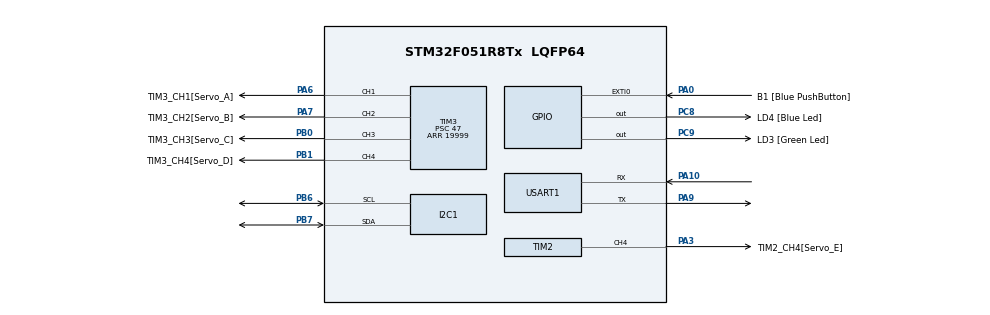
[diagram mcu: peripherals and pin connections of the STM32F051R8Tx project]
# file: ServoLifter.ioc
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FREERTOS.configCHECK_FOR_STACK_OVERFLOW=1
FREERTOS.configUSE_MALLOC_FAILED_HOOK=1
Mcu.Family=STM32F0
Mcu.Name=STM32F051R8Tx
Mcu.Package=LQFP64
NVIC.EXTI0_1_IRQn=true\:3\:0\:true
NVIC.TIM2_IRQn=true\:3\:0\:true
NVIC.TIM3_IRQn=true\:3\:0\:true
NVIC.USART1_IRQn=true\:3\:0\:true
PA0.GPIO_Label=B1 [Blue PushButton]
PA0.GPIO_ModeDefaultEXTI=GPIO_MODE_IT_RISING
PA0.GPIO_PuPd=GPIO_NOPULL
PA0.Signal=GPXTI0
PA10.GPIO_Mode=GPIO_MODE_AF_PP
PA10.GPIO_PuPd=GPIO_NOPULL
PA10.GPIO_Speed=GPIO_SPEED_LOW
PA10.Mode=Asynchronous
PA10.Signal=USART1_RX
PA13.GPIO_Label=SWDIO
PA13.Mode=Serial-WireDebug
PA13.Signal=SYS_SWDIO
PA14.GPIO_Label=SWCLK
PA14.Mode=Serial-WireDebug
PA14.Signal=SYS_SWCLK
PA3.GPIO_Label=TIM2_CH4[Servo_E]
PA3.GPIO_ModeDefaultPP=GPIO_MODE_AF_PP
PA3.GPIO_PuPd=GPIO_NOPULL
PA3.GPIO_Speed=GPIO_SPEED_LOW
PA3.Signal=S_TIM2_CH4
PA6.GPIO_Label=TIM3_CH1[Servo_A]
PA6.GPIO_ModeDefaultPP=GPIO_MODE_AF_PP
PA6.GPIO_PuPd=GPIO_NOPULL
PA6.GPIO_Speed=GPIO_SPEED_LOW
PA6.Signal=S_TIM3_CH1
PA7.GPIO_Label=TIM3_CH2[Servo_B]
PA7.GPIO_ModeDefaultPP=GPIO_MODE_AF_PP
PA7.GPIO_PuPd=GPIO_NOPULL
PA7.GPIO_Speed=GPIO_SPEED_LOW
PA7.Signal=S_TIM3_CH2
PA9.GPIO_Mode=GPIO_MODE_AF_PP
PA9.GPIO_PuPd=GPIO_NOPULL
PA9.GPIO_Speed=GPIO_SPEED_LOW
PA9.Mode=Asynchronous
PA9.Signal=USART1_TX
PB0.GPIO_Label=TIM3_CH3[Servo_C]
PB0.GPIO_ModeDefaultPP=GPIO_MODE_AF_PP
PB0.GPIO_PuPd=GPIO_NOPULL
PB0.GPIO_Speed=GPIO_SPEED_LOW
PB0.Signal=S_TIM3_CH3
PB1.GPIO_Label=TIM3_CH4[Servo_D]
PB1.GPIO_ModeDefaultPP=GPIO_MODE_AF_PP
PB1.GPIO_PuPd=GPIO_NOPULL
PB1.GPIO_Speed=GPIO_SPEED_LOW
PB1.Signal=S_TIM3_CH4
PB6.Mode=I2C
PB6.Signal=I2C1_SCL
PB7.Mode=I2C
PB7.Signal=I2C1_SDA
PC8.GPIO_Label=LD4 [Blue Led]
PC8.GPIO_ModeDefaultOutputPP=GPIO_MODE_OUTPUT_PP
PC8.GPIO_PuPd=GPIO_NOPULL
PC8.GPIO_Speed=GPIO_SPEED_LOW
PC8.Signal=GPIO_Output
PC9.GPIO_Label=LD3 [Green Led]
PC9.GPIO_ModeDefaultOutputPP=GPIO_MODE_OUTPUT_PP
PC9.GPIO_PuPd=GPIO_NOPULL
PC9.GPIO_Speed=GPIO_SPEED_LOW
PC9.Signal=GPIO_Output
ProjectManager.TargetToolchain=MDK-ARM 4.73
RCC.AHBFreq_Value=48000000
RCC.APB1Freq_Value=48000000
RCC.APB1TimFreq_Value=48000000
RCC.HCLKFreq_Value=48000000
RCC.PLLMUL=RCC_PLL_MUL12
RCC.SYSCLKSource=RCC_SYSCLKSOURCE_PLLCLK
SH.S_TIM2_CH4.0=TIM2_CH4,PWM Generation4 CH4
SH.S_TIM3_CH1.0=TIM3_CH1,PWM Generation1 CH1
SH.S_TIM3_CH2.0=TIM3_CH2,PWM Generation2 CH2
SH.S_TIM3_CH3.0=TIM3_CH3,PWM Generation3 CH3
SH.S_TIM3_CH4.0=TIM3_CH4,PWM Generation4 CH4
TIM2.Channel-PWM\ Generation4\ CH4=TIM_CHANNEL_4
TIM2.Period=19999
TIM2.Prescaler=47
TIM2.Pulse-PWM\ Generation4\ CH4=1094
TIM3.Channel-PWM\ Generation2\ CH2=TIM_CHANNEL_2
TIM3.Channel-PWM\ Generation3\ CH3=TIM_CHANNEL_3
TIM3.Channel-PWM\ Generation4\ CH4=TIM_CHANNEL_4
TIM3.Period=19999
TIM3.Prescaler=47
TIM3.Pulse-PWM\ Generation1\ CH1=1094
TIM3.Pulse-PWM\ Generation2\ CH2=1094
TIM3.Pulse-PWM\ Generation3\ CH3=1094
TIM3.Pulse-PWM\ Generation4\ CH4=1094
USART1.AutoBaudRateEnableParam-Asynchronous=UART_ADVFEATURE_AUTOBAUDRATE_DISABLE
VP_FREERTOS_VS_ENABLE.Mode=Enabled
VP_TIM2_VS_ClockSourceINT.Mode=Internal
VP_TIM3_VS_ClockSourceINT.Mode=Internal

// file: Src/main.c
/**
  ******************************************************************************
  * File Name          : main.c
  * Date               : 04/12/2014 10:38:35
  * Description        : Main program body
  ******************************************************************************
  *
  * COPYRIGHT(c) 2014 STMicroelectronics
  *
  * Redistribution and use in source and binary forms, with or without modification,
  * are permitted provided that the following conditions are met:
  *   1. Redistributions of source code must retain the above copyright notice,
  *      this list of conditions and the following disclaimer.
  *   2. Redistributions in binary form must reproduce the above copyright notice,
  *      this list of conditions and the following disclaimer in the documentation
  *      and/or other materials provided with the distribution.
  *   3. Neither the name of STMicroelectronics nor the names of its contributors
  *      may be used to endorse or promote products derived from this software
  *      without specific prior written permission.
  *
  * THIS SOFTWARE IS PROVIDED BY THE COPYRIGHT HOLDERS AND CONTRIBUTORS "AS IS"
  * AND ANY EXPRESS OR IMPLIED WARRANTIES, INCLUDING, BUT NOT LIMITED TO, THE
  * IMPLIED WARRANTIES OF MERCHANTABILITY AND FITNESS FOR A PARTICULAR PURPOSE ARE
  * DISCLAIMED. IN NO EVENT SHALL THE COPYRIGHT HOLDER OR CONTRIBUTORS BE LIABLE
  * FOR ANY DIRECT, INDIRECT, INCIDENTAL, SPECIAL, EXEMPLARY, OR CONSEQUENTIAL
  * DAMAGES (INCLUDING, BUT NOT LIMITED TO, PROCUREMENT OF SUBSTITUTE GOODS OR
  * SERVICES; LOSS OF USE, DATA, OR PROFITS; OR BUSINESS INTERRUPTION) HOWEVER
  * CAUSED AND ON ANY THEORY OF LIABILITY, WHETHER IN CONTRACT, STRICT LIABILITY,
  * OR TORT (INCLUDING NEGLIGENCE OR OTHERWISE) ARISING IN ANY WAY OUT OF THE USE
  * OF THIS SOFTWARE, EVEN IF ADVISED OF THE POSSIBILITY OF SUCH DAMAGE.
  *
  ******************************************************************************
  */

#include "stm32f0xx_hal.h"
#include "cmsis_os.h"
#include "i2c.h"
#include "tim.h"
#include "usart.h"
#include "gpio.h"

void SystemClock_Config(void);
static void StartThread(void const * argument);

/* USER CODE BEGIN 0 */
#include "command.h"
osMessageQId RcvBoxId;
osMessageQId CmdBoxId;

uint8_t UserRxBuffer[RX_BUFFER_SIZE];
static __IO uint32_t idxRxBuffer = 0;
#define RX_EVENT_TIMEOUT_MS 100

/* USER CODE END 0 */

int main(void)
{

  /* USER CODE BEGIN 1 */
 	osMessageQDef(RcvBox, RX_BUFFER_SIZE, uint32_t);
	RcvBoxId = osMessageCreate(osMessageQ(RcvBox), NULL);

 	osMessageQDef(CmdBoxId, MAX_CMD_BUF_COUNT, uint32_t);
	CmdBoxId = osMessageCreate(osMessageQ(CmdBoxId), NULL);

  /* USER CODE END 1 */

  /* MCU Configuration----------------------------------------------------------*/

  /* Reset of all peripherals, Initializes the Flash interface and the Systick. */
  HAL_Init();

  /* Configure the system clock */
  SystemClock_Config();

  /* Initialize all configured peripherals */
  MX_GPIO_Init();
  MX_I2C1_Init();
  MX_TIM2_Init();
  MX_TIM3_Init();
  MX_USART1_UART_Init();

  /* USER CODE BEGIN 2 */

	// Initialize all PWM pins to high state.
	HAL_GPIO_WritePin(GPIOA, GPIO_PIN_3|GPIO_PIN_6|GPIO_PIN_7, GPIO_PIN_SET);
	HAL_GPIO_WritePin(GPIOB, GPIO_PIN_0|GPIO_PIN_1, GPIO_PIN_SET);

  osThreadDef(MOTOR_Thread, StartMotorThread, osPriorityNormal, 0, configMINIMAL_STACK_SIZE);
  osThreadCreate (osThread(MOTOR_Thread), NULL);
  /* USER CODE END 2 */

  /* Init code generated for FreeRTOS */
  /* Create Start thread */
  osThreadDef(USER_Thread, StartThread, osPriorityNormal, 0, configMINIMAL_STACK_SIZE);
  osThreadCreate (osThread(USER_Thread), NULL);

  /* Start scheduler */
  osKernelStart(NULL, NULL);

  /* We should never get here as control is now taken by the scheduler */

  while (1)
  {
  }

}

/** System Clock Configuration
*/
void SystemClock_Config(void)
{

  RCC_OscInitTypeDef RCC_OscInitStruct;
  RCC_ClkInitTypeDef RCC_ClkInitStruct;
  RCC_PeriphCLKInitTypeDef PeriphClkInit;

  RCC_OscInitStruct.OscillatorType = RCC_OSCILLATORTYPE_HSI;
  RCC_OscInitStruct.HSIState = RCC_HSI_ON;
  RCC_OscInitStruct.HSICalibrationValue = 16;
  RCC_OscInitStruct.PLL.PLLState = RCC_PLL_ON;
  RCC_OscInitStruct.PLL.PLLSource = RCC_PLLSOURCE_HSI;
  RCC_OscInitStruct.PLL.PLLMUL = RCC_PLL_MUL12;
  RCC_OscInitStruct.PLL.PREDIV = RCC_PREDIV_DIV1;
  HAL_RCC_OscConfig(&RCC_OscInitStruct);

  RCC_ClkInitStruct.ClockType = RCC_CLOCKTYPE_SYSCLK;
  RCC_ClkInitStruct.SYSCLKSource = RCC_SYSCLKSOURCE_PLLCLK;
  RCC_ClkInitStruct.AHBCLKDivider = RCC_SYSCLK_DIV1;
  RCC_ClkInitStruct.APB1CLKDivider = RCC_HCLK_DIV1;
  HAL_RCC_ClockConfig(&RCC_ClkInitStruct, FLASH_LATENCY_1);

  PeriphClkInit.PeriphClockSelection = RCC_PERIPHCLK_USART1|RCC_PERIPHCLK_I2C1;
  PeriphClkInit.Usart1ClockSelection = RCC_USART1CLKSOURCE_PCLK1;
  PeriphClkInit.I2c1ClockSelection = RCC_I2C1CLKSOURCE_HSI;
  HAL_RCCEx_PeriphCLKConfig(&PeriphClkInit);

  __SYSCFG_CLK_ENABLE();

}

/* USER CODE BEGIN 4 */

/**
  * @brief Rx Transfer completed callbacks
  * @param huart: uart handle
  * @retval None
  */
void HAL_UART_RxCpltCallback(UART_HandleTypeDef *huart)
{
  osMessagePut(RcvBoxId, (uint32_t)UserRxBuffer[idxRxBuffer], 0);
	idxRxBuffer = (idxRxBuffer + 1) % RX_BUFFER_SIZE;
	while (HAL_UART_Receive_IT(&huart1, &UserRxBuffer[idxRxBuffer], 1) == HAL_BUSY) {}
}

/* USER CODE END 4 */

static void StartThread(void const * argument)
{

  /* USER CODE BEGIN 5 */

	while (HAL_UART_Receive_IT(&huart1, &UserRxBuffer[idxRxBuffer], 1) == HAL_BUSY) {
		osDelay(1);
	}
  /* Infinite loop */
  osEvent evt;
  for(;;)
  {
    evt = osMessageGet(RcvBoxId, RX_EVENT_TIMEOUT_MS);
		// EchoBack
		if (evt.status == osEventMessage) {
			uint8_t c = (uint8_t)(0xFF & evt.value.v);
			ParseInputChars(c);
		}
	}

  /* USER CODE END 5 */

}

/************************ (C) COPYRIGHT STMicroelectronics *****END OF FILE****/

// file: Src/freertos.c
/**
  ******************************************************************************
  * File Name          : freertos.c
  * Date               : 04/12/2014 10:38:33
  * Description        : Optional code that may be needed for compiling freertos applications
  ******************************************************************************
  *
  * COPYRIGHT(c) 2014 STMicroelectronics
  *
  * Redistribution and use in source and binary forms, with or without modification,
  * are permitted provided that the following conditions are met:
  *   1. Redistributions of source code must retain the above copyright notice,
  *      this list of conditions and the following disclaimer.
  *   2. Redistributions in binary form must reproduce the above copyright notice,
  *      this list of conditions and the following disclaimer in the documentation
  *      and/or other materials provided with the distribution.
  *   3. Neither the name of STMicroelectronics nor the names of its contributors
  *      may be used to endorse or promote products derived from this software
  *      without specific prior written permission.
  *
  * THIS SOFTWARE IS PROVIDED BY THE COPYRIGHT HOLDERS AND CONTRIBUTORS "AS IS"
  * AND ANY EXPRESS OR IMPLIED WARRANTIES, INCLUDING, BUT NOT LIMITED TO, THE
  * IMPLIED WARRANTIES OF MERCHANTABILITY AND FITNESS FOR A PARTICULAR PURPOSE ARE
  * DISCLAIMED. IN NO EVENT SHALL THE COPYRIGHT HOLDER OR CONTRIBUTORS BE LIABLE
  * FOR ANY DIRECT, INDIRECT, INCIDENTAL, SPECIAL, EXEMPLARY, OR CONSEQUENTIAL
  * DAMAGES (INCLUDING, BUT NOT LIMITED TO, PROCUREMENT OF SUBSTITUTE GOODS OR
  * SERVICES; LOSS OF USE, DATA, OR PROFITS; OR BUSINESS INTERRUPTION) HOWEVER
  * CAUSED AND ON ANY THEORY OF LIABILITY, WHETHER IN CONTRACT, STRICT LIABILITY,
  * OR TORT (INCLUDING NEGLIGENCE OR OTHERWISE) ARISING IN ANY WAY OUT OF THE USE
  * OF THIS SOFTWARE, EVEN IF ADVISED OF THE POSSIBILITY OF SUCH DAMAGE.
  *
  ******************************************************************************
  */

#include "FreeRTOS.h"
#include "task.h"

void vApplicationStackOverflowHook(xTaskHandle xTask, signed char *pcTaskName);
void vApplicationMallocFailedHook(void);

/* USER CODE BEGIN 4 */
void vApplicationStackOverflowHook(xTaskHandle xTask, signed char *pcTaskName)
{
/* Run time stack overflow checking is performed if
configCHECK_FOR_STACK_OVERFLOW is defined to 1 or 2. This hook function is
called if a stack overflow is detected. */
}
/* USER CODE END 4 */

/* USER CODE BEGIN 5 */
void vApplicationMallocFailedHook(void)
{
/* vApplicationMallocFailedHook() will only be called if
configUSE_MALLOC_FAILED_HOOK is set to 1 in FreeRTOSConfig.h. It is a hook
function that will get called if a call to pvPortMalloc() fails.
pvPortMalloc() is called internally by the kernel whenever a task, queue,
timer or semaphore is created. It is also called by various parts of the
demo application. If heap_1.c or heap_2.c are used, then the size of the
heap available to pvPortMalloc() is defined by configTOTAL_HEAP_SIZE in
FreeRTOSConfig.h, and the xPortGetFreeHeapSize() API function can be used
to query the size of free heap space that remains (although it does not
provide information on how the remaining heap might be fragmented). */
}
/* USER CODE END 5 */

/************************ (C) COPYRIGHT STMicroelectronics *****END OF FILE****/
